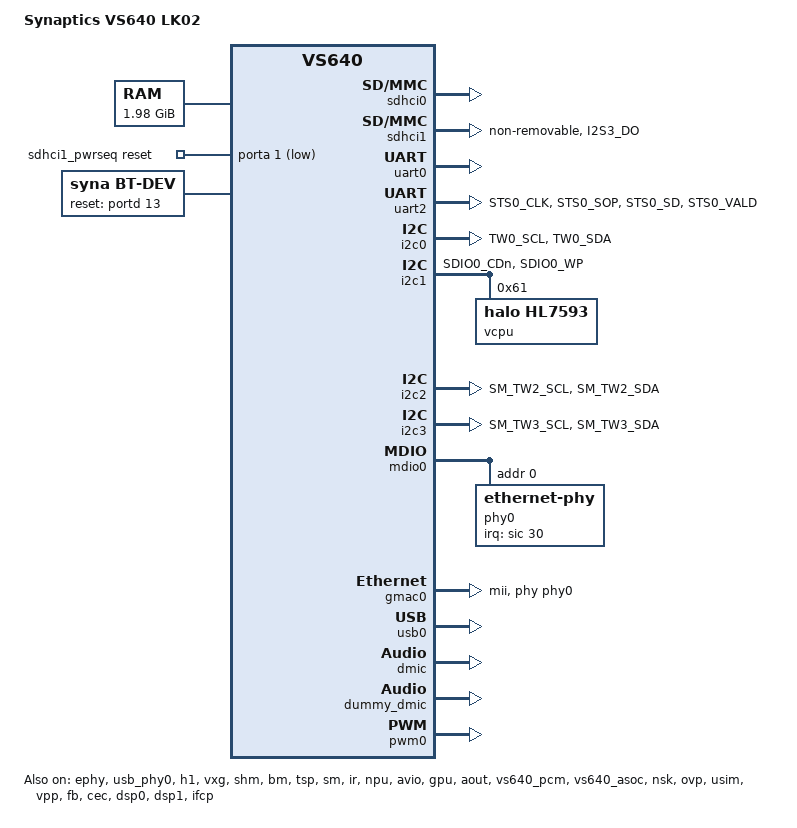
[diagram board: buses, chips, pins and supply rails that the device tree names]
// SPDX-License-Identifier: (GPL-2.0 OR MIT)
/*
 * Copyright (C) 2020 Synaptics Incorporated
 *
 * Author: Benson Gui <begu@synaptics.com>
 */

/dts-v1/;

/memreserve/ 0x7f000000 0x01000000;

#include <dt-bindings/gpio/gpio.h>

#include "vs640.dtsi"

/ {
	model = "Synaptics VS640 LK02";
	compatible = "syna,vs640-lk02", "syna,vs640";

	cpus {
		cpu@0 {
			cpu0-supply = <&vcpu>;
		};
	};

	chosen {
		stdout-path = "serial0:115200n8";
	};

	memory {
		device_type = "memory";
		reg = <0 0x01000000 0 0x7f000000>;
	};

	ion {
		compatible = "syna,ion-berlin-heaps";
		pool-num = <2>;
		reg-names = "NonSecure-NC", "Secure";
		reg = <0 0x7f000000 0 0x00800000>,
		      <0 0x7f800000 0 0x00800000>;
		attributes-num-per-pool = <2>;
		pool-attributes = <0x00000105 0x00000F3A 0x00000102 0x00000F3D>;
	};

	sdhci1_pwrseq: sdhci1-pwrseq {
		compatible = "mmc-pwrseq-simple";
		reset-gpios = <&porta 1 GPIO_ACTIVE_LOW>;
	};

	bt-dev {
		compatible = "syna,bt-dev";
		pinctrl-0 = <&bt_pmux>;
		pinctrl-names = "default";
		dev_name = "bt-dev";
		gpio_reset = <&portd 13 GPIO_ACTIVE_HIGH>;
	};
};

&pinctrl {
	i2c0_pmux: i2c0-pmux {
		groups = "TW0_SCL", "TW0_SDA";
		function = "tw0";
		drive-strength = <7>;
	};

	i2c1_pmux: i2c1-pmux {
		groups = "SDIO0_CDn", "SDIO0_WP";
		function = "tw1a";
		drive-strength = <7>;
	};

	scrd_pmux: scrd-pmux {
		groups = "SCRD0_RST", "SCRD0_DCLK", "SPI1_SS2n", "SPI1_SS3n", "SCRD0_DIO", "SCRD0_CRD_PRES";
		function = "scrd0";
	};

	uart2_pmux: uart2-pmux {
		groups = "STS0_CLK", "STS0_SOP", "STS0_SD", "STS0_VALD";
		function = "uart2b";
	};
};

&sm_pinctrl {
	i2c2_pmux: i2c2-pmux {
		groups = "SM_TW2_SCL", "SM_TW2_SDA";
		function = "tw2";
		drive-strength = <7>;
	};

	i2c3_pmux: i2c3-pmux {
		groups = "SM_TW3_SCL", "SM_TW3_SDA";
		function = "tw3";
		drive-strength = <7>;
	};

	bt_pmux: bt-pmux {
		groups = "SM_SPI2_SDO";
		function = "gpio";
		drive-strength = <3>;
	};
};

&avio_pinctrl {
	spdifo_pmux: spdifo-pmux {
		groups = "SPDIFO";
		function = "spdifo";
	};

	wifi_pmux: wifi_pmux {
		groups = "I2S3_DO";
		function = "gpio";
	};
};

&sdhci0 {
	status = "okay";
	sdclkdl-dc = /bits/ 8 <26>;
	mmc-ddr-1_8v;
	mmc-hs200-1_8v;
	mmc-hs400-1_8v;
	mmc-hs400-enhanced-strobe;
	dll-calibration;
	dll-delay-offset = <300>;
};

&sdhci1 {
	status = "okay";
	pinctrl-names = "default";
	pinctrl-0 = <&wifi_pmux>;
	no-sd;
	no-mmc;
	non-removable;
	initial-voltage = /bits/ 8 <1>;
	sdclkdl-dc = /bits/ 8 <75>;
	pad-sp = /bits/ 8 <12>;
	pad-sn = /bits/ 8 <12>;
	drv-strength = /bits/ 8 <3>;
	mmc-pwrseq = <&sdhci1_pwrseq>;
	mode1-tune;
	keep-power-in-suspend;
};

&uart0 {
	status = "okay";
};

&uart2 {
	pinctrl-0 = <&uart2_pmux>;
	pinctrl-names = "default";
	status = "okay";
};

&i2c0 {
	status = "okay";
	pinctrl-names = "default";
	pinctrl-0 = <&i2c0_pmux>;
};

&i2c1 {
	status = "okay";
	pinctrl-names = "default";
	pinctrl-0 = <&i2c1_pmux>;

	vcpu: regulator@61 {
		compatible = "halo,hl7593";
		regulator-name = "vcpu";
		regulator-min-microvolt = <700000>;
		regulator-max-microvolt = <987500>;
		regulator-always-on;
		regulator-boot-on;
		halo,vsel-state-high;
		halo,vsel-step = <1>;
		reg = <0x61>;
	};
};

&i2c2 {
	status = "okay";
	pinctrl-names = "default";
	pinctrl-0 = <&i2c2_pmux>;
};

&i2c3 {
	status = "okay";
	pinctrl-names = "default";
	pinctrl-0 = <&i2c3_pmux>;
};

&ephy {
	status = "okay";
};

&mdio0 {
	phy0: ethernet-phy@0 {
		reg = <0>;
		interrupt-parent = <&sic>;
		interrupts = <30>;
		ephy = <&ephy>;
		eee-broken-100tx;
	};
};

&gmac0 {
	status = "okay";
	phy-handle = <&phy0>;
	phy-mode = "mii";
};

&usb0 {
	status = "okay";
};

&usb_phy0 {
	status = "okay";
};

&h1 {
	status = "okay";
};

&vxg {
	status = "okay";
};

&shm {
	status = "okay";
};

&bm {
	status = "okay";
};

&tsp {
	status = "okay";
};

&sm {
	status = "okay";
};

&ir {
	status = "okay";
};

&npu {
	status = "okay";
};

&avio {
	status = "okay";
};

&gpu {
	status = "okay";
};

&aout {
	status = "okay";
	pinctrl-0 = <&spdifo_pmux>;
	pinctrl-names = "default";
};

&dmic {
	status = "okay";
};

&vs640_pcm {
	status = "okay";
};

&vs640_asoc {
	status = "okay";

	dummy_dmic: dummy-dmic {
		status = "okay";
		stream-name = "dummy-dmic";
		link-name = "dummy-dmic";
		cpu-node = <&dmic>;
		codec-name = "snd-soc-dummy";
		codec-dai-name = "snd-soc-dummy-dai";
		platform-node = <&vs640_pcm>;
	};
};

&nsk {
	status = "okay";
};

&ovp {
	status = "okay";
};

&usim {
	status = "okay";
	pinctrl-0 = <&scrd_pmux>;
	pinctrl-names = "default";
	voltcfg1-gpios = <&portb 2 GPIO_ACTIVE_HIGH>;
	voltcfg2-gpios = <&portb 1 GPIO_ACTIVE_HIGH>;
	cmdvcc-gpios = <&porta 17 GPIO_ACTIVE_HIGH>;
	chipsel-gpios = <&porta 16 GPIO_ACTIVE_HIGH>;
	ext-volt-cfg-div = <0 1 3>; /* <VOLT_CFG_1_8V VOLT_CFG_3_3V VOLT_CFG_5_0V> */
};

&vpp {
	status = "okay";
};

&fb {
	status = "okay";
};

&cec {
	status = "okay";
};

&dsp0 {
	status = "okay";
};

&dsp1 {
	status = "okay";
};

&pwm0 {
	status = "okay";
};

&ifcp {
	status = "okay";
};

&axi_meter {
	status = "okay";
};
